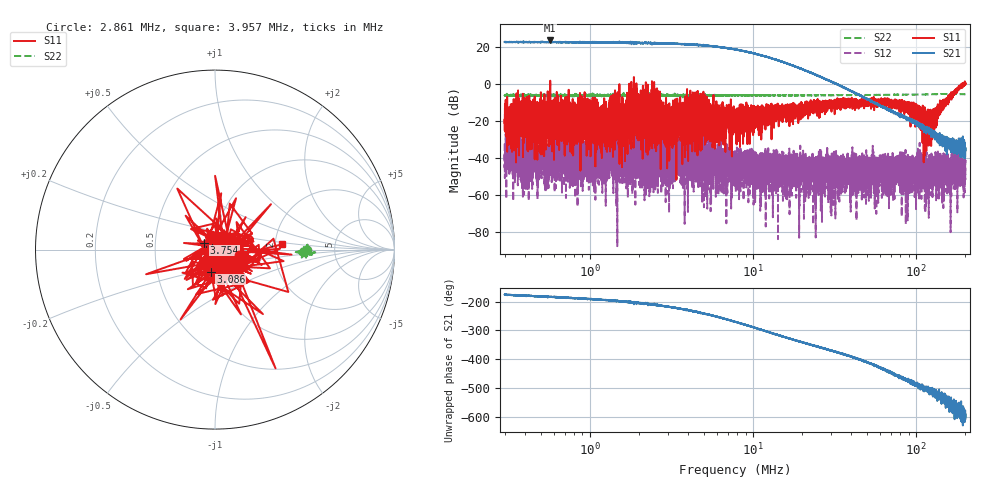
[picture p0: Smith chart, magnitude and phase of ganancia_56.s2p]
# Hz S DB R 50
! CMT, M5065, 19127446, 24.2.4/2
! Date: 11/1/2024 3:47:30 PM
! Data: Format (Calibration Info)
! Freq	S11:dB/Ang(F2)	S21:dB/Ang(F2)	S12:dB/Ang(F2)	S22:dB/Ang(F2)
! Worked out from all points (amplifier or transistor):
!   9000 points, 300 kHz to 200 MHz, reference 50 ohm
!   highest |S21| = 23.8 dB at 571.1 kHz (marker M1)
!   |S21| within 3 dB of that: start of sweep to 5.085 MHz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
!   unconditionally stable (mu >= 1): 5.082 MHz to 188.3 MHz; 190.5 MHz to 192.4 MHz; 193 MHz to 194.3 MHz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
!   at 886.8 kHz: K = 1.80, MAG = 24.1 dB, |S12| = -35.7 dB
!   at 7.749 MHz: K = 3.83, MAG = 20.3 dB, |S12| = -39.1 dB
!   at 200 MHz: K = -573.47, MSG = 4.6 dB, |S12| = -44.1 dB
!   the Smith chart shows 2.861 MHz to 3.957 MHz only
!   S11 on the Smith chart (normalised r, x): 2.861 MHz: 1.31, -0.08; 3.086 MHz: 0.92, -0.23; 3.754 MHz: 0.88, +0.07; 3.957 MHz: 2.19, +0.15
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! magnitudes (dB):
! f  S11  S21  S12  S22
! 300 kHz  -24.7  22.9  -32.3  -6.4
! 310.8 kHz  -11.1  22.8  -28.7  -5.8
! 375.9 kHz  -12.6  23.1  -51.9  -6.0
! 571.1 kHz  1.9  23.8  -30.5  -5.5
! 886.8 kHz  -14.2  22.8  -35.7  -6.1
! 1.158 MHz  -23.2  22.8  -34.0  -6.1
! 1.567 MHz  -20.7  22.6  -41.5  -5.9
! 1.876 MHz  -14.7  22.4  -27.7  -5.5
! 2.107 MHz  -28.7  22.4  -39.9  -5.9
! 2.621 MHz  -24.6  22.2  -42.0  -6.0
! 2.861 MHz  -17.3  22.1  -35.6  -5.8
! 3.086 MHz  -18.0  22.1  -56.8  -6.0
! 3.373 MHz  -17.4  21.9  -32.7  -5.7
! 3.754 MHz  -22.8  21.8  -46.8  -6.1
! 3.957 MHz  -8.5  21.5  -43.4  -6.1
! 7.749 MHz  -21.2  19.0  -39.1  -6.0
! 22.91 MHz  -12.4  6.1  -44.8  -6.0
! 67.71 MHz  -8.8  -13.9  -41.7  -5.7
! 93.86 MHz  -14.9  -20.0  -39.8  -5.6
! 117.6 MHz  -24.9  -25.1  -44.2  -5.5
! 149.2 MHz  -8.6  -30.6  -44.4  -5.3
! 200 MHz  0.7  -34.9  -44.1  -5.4
